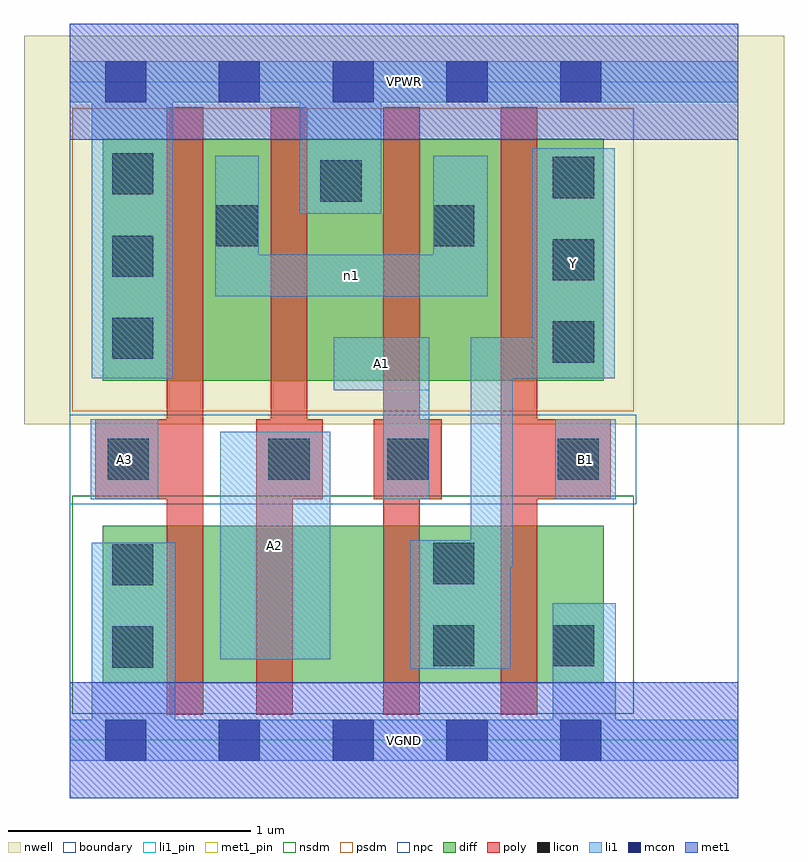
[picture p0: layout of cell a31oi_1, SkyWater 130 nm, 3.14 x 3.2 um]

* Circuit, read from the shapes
.subckt a31oi_1 A1 A2 A3 B1 VGND VPWR Y n1
XM1 n2 A3 VGND VSUBS sky130_fd_pr__nfet_01v8 w=0.65 l=0.15
XM2 n3 A2 n2 VSUBS sky130_fd_pr__nfet_01v8 w=0.65 l=0.15
XM3 Y A1 n3 VSUBS sky130_fd_pr__nfet_01v8 w=0.65 l=0.15
XM4 VGND B1 Y VSUBS sky130_fd_pr__nfet_01v8 w=0.65 l=0.15
XM5 n1 A3 VPWR n4 sky130_fd_pr__pfet_01v8 w=1 l=0.15
XM6 VPWR A2 n1 n4 sky130_fd_pr__pfet_01v8 w=1 l=0.15
XM7 n1 A1 VPWR n4 sky130_fd_pr__pfet_01v8 w=1 l=0.15
XM8 Y B1 n1 n4 sky130_fd_pr__pfet_01v8 w=1 l=0.15
.ends

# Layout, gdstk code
import gdstk
lib = gdstk.Library(unit=1e-6, precision=1e-09)
def R(c, l, rs):  # rectangles x0, y0, x1, y1
    for r in rs: c.add(gdstk.rectangle(r[:2], r[2:], *l))
def A(c, l, x, y, w, h, nx, ny, dx, dy):  # array of equal rectangles
    R(c, l, [(x+i*dx, y+j*dy, x+i*dx+w, y+j*dy+h) for i in range(nx) for j in range(ny)])
nwell = (64, 20)
diff = (65, 20)
poly = (66, 20)
licon = (66, 44)
li1_pin = (67, 16)
li1 = (67, 20)
mcon = (67, 44)
met1_pin = (68, 16)
met1 = (68, 20)
nsdm = (93, 44)
psdm = (94, 20)
npc = (95, 20)
boundary = (235, 4)

a31oi_1 = lib.new_cell('a31oi_1')
R(a31oi_1, nwell, [(-0.19,1.305,2.95,2.91), (0,1.305,2.76,2.91)])
R(a31oi_1, diff, [(0.135,0.235,2.205,0.885), (0.135,1.485,2.205,2.485)])
R(a31oi_1, poly, [(0.4,0.105,0.55,2.615), (0.77,0.105,0.92,1.325), (1.295,0.105,1.445,2.615), (1.78,0.105,1.93,2.615), (0.105,0.995,0.55,1.325), (0.77,0.995,1.045,1.325), (0.83,0.995,0.98,2.615), (1.255,0.995,1.535,1.325), (1.78,0.995,2.235,1.325)])
A(a31oi_1, licon, 1.995, 1.56, 0.17, 0.17, 1, 3, 0, 0.34)
A(a31oi_1, licon, 0.175, 1.575, 0.17, 0.17, 1, 3, 0, 0.34)
R(a31oi_1, licon, [(0.175,0.3,0.345,0.47), (1.5,0.305,1.67,0.475), (1.995,0.305,2.165,0.475), (0.175,0.64,0.345,0.81), (1.5,0.645,1.67,0.815), (0.155,1.075,0.325,1.245), (0.82,1.075,0.99,1.245), (1.31,1.075,1.48,1.245), (2.015,1.075,2.185,1.245), (0.605,2.04,0.775,2.21), (1.5,2.04,1.67,2.21), (1.035,2.225,1.205,2.395)])
R(a31oi_1, li1_pin, [(0.62,0.335,1.075,1.275), (0.085,0.995,0.365,1.325), (2.005,0.995,2.255,1.325), (1.09,1.445,1.485,1.665), (1.91,1.495,2.25,2.445)])
R(a31oi_1, li1, [(0,-0.085,2.76,0.085), (0.09,-0.085,0.435,0.815), (1.995,-0.085,2.255,0.565), (1.405,0.295,1.82,0.825), (0.62,0.335,1.075,1.275), (1.655,0.715,1.83,1.665), (0.085,0.995,0.365,1.325), (1.295,0.995,1.485,1.665), (2.005,0.995,2.255,1.325), (1.09,1.445,1.485,1.665), (0.09,1.495,0.425,2.805), (1.655,1.495,2.25,1.665), (1.91,1.495,2.25,2.445), (0.6,1.835,1.725,2.005), (0.6,1.835,0.78,2.415), (1.5,1.835,1.725,2.415), (0.95,2.175,1.285,2.805), (0,2.635,2.76,2.805)])
A(a31oi_1, mcon, 0.145, -0.085, 0.17, 0.17, 5, 2, 0.47, 2.72)
R(a31oi_1, met1_pin, [(0,-0.24,2.76,0.24), (0,2.48,2.76,2.96)])
R(a31oi_1, met1, [(0,-0.24,2.76,0.24), (0,2.48,2.76,2.96)])
R(a31oi_1, nsdm, [(0.01,0.11,2.33,1.01)])
R(a31oi_1, psdm, [(0.01,1.36,2.33,2.61)])
R(a31oi_1, npc, [(0,0.975,2.34,1.345)])
R(a31oi_1, boundary, [(0,0,2.76,2.72)])
a31oi_1.add(gdstk.Label('A1', (1.287,1.555), layer=67, texttype=5))
a31oi_1.add(gdstk.Label('A2', (0.847,0.805), layer=67, texttype=5))
a31oi_1.add(gdstk.Label('A3', (0.225,1.16), layer=67, texttype=5))
a31oi_1.add(gdstk.Label('B1', (2.13,1.16), layer=67, texttype=5))
a31oi_1.add(gdstk.Label('Y', (2.08,1.97), layer=67, texttype=5))
a31oi_1.add(gdstk.Label('n1', (1.162,1.92), layer=67, texttype=5))
a31oi_1.add(gdstk.Label('VPWR', (1.38,2.72), layer=68, texttype=5))
a31oi_1.add(gdstk.Label('VGND', (1.38,0), layer=68, texttype=5))
a31oi_1.add(gdstk.Label('A1', (1.287,1.555), layer=67, texttype=16))
a31oi_1.add(gdstk.Label('A2', (0.847,0.805), layer=67, texttype=16))
a31oi_1.add(gdstk.Label('A3', (0.225,1.16), layer=67, texttype=16))
a31oi_1.add(gdstk.Label('B1', (2.13,1.16), layer=67, texttype=16))
a31oi_1.add(gdstk.Label('Y', (2.08,1.97), layer=67, texttype=16))
a31oi_1.add(gdstk.Label('VPWR', (1.38,2.72), layer=68, texttype=16))
a31oi_1.add(gdstk.Label('VGND', (1.38,0), layer=68, texttype=16))

lib.write_gds('a31oi_1.gds')
